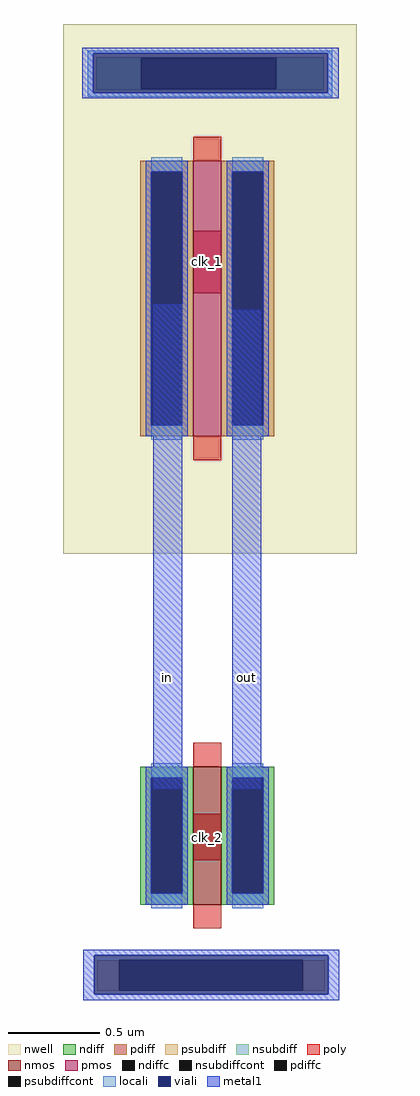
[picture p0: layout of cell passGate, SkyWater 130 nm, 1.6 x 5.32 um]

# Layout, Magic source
magic
tech sky130A
magscale 1 2
<< poly >>
rect 72 1026 102 1094
rect 72 408 102 459
<< metal1 >>
rect 28 486 60 1014
rect 114 486 146 1008
use grid  grid_0
transform 1 0 -9 0 1 266
box -61 -10 259 1053
use sky130_fd_pr__nfet_01v8_5CZXLZ  sky130_fd_pr__nfet_01v8_5CZXLZ_0
transform 1 0 87 0 1 435
box -73 -101 73 101
use sky130_fd_pr__pfet_01v8_52K3FE  sky130_fd_pr__pfet_01v8_52K3FE_0
transform 1 0 87 0 1 1020
box -109 -212 109 212
<< labels >>
rlabel metal1 28 486 60 728 1 in
rlabel metal1 114 486 146 728 1 out
rlabel poly 72 408 102 459 1 clk_2
rlabel poly 72 1026 102 1094 1 clk_1
<< end >>

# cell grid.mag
magic
tech sky130A
magscale 1 2
<< nwell >>
rect -61 476 259 1053
<< psubdiff >>
rect -24 0 0 34
rect 200 0 224 34
<< nsubdiff >>
rect -25 1016 223 1017
rect -25 982 24 1016
rect 171 982 223 1016
rect -25 981 223 982
<< psubdiffcont >>
rect 0 0 200 34
<< nsubdiffcont >>
rect 24 982 171 1016
<< locali >>
rect -34 1021 232 1024
rect -34 978 -28 1021
rect 227 978 232 1021
rect -34 974 232 978
<< viali >>
rect -28 1016 227 1021
rect -28 982 24 1016
rect 24 982 171 1016
rect 171 982 227 1016
rect -28 978 227 982
rect -27 34 228 39
rect -27 0 0 34
rect 0 0 200 34
rect 200 0 228 34
rect -27 -4 228 0
<< metal1 >>
rect -40 1021 239 1027
rect -40 978 -28 1021
rect 227 978 239 1021
rect -40 972 239 978
rect -39 39 240 45
rect -39 -4 -27 39
rect 228 -4 240 39
rect -39 -10 240 -4
<< end >>

# cell sky130_fd_pr__nfet_01v8_5CZXLZ: kit device sky130_fd_pr__nfet_01v8, w 0.75 l 0.15 m 1 nf 1 diffcov 100 polycov 100 guard 0 glc 0 grc 0 gtc 0 gbc 0 tbcov 100 rlcov 100 topc 0 botc 0 poverlap 0 doverlap 1 lmin 0.15 wmin 0.42 compatible {sky130_fd_pr__nfet_01v8 sky130_fd_pr__nfet_01v8_lvt sky130_fd_bs_flash__special_sonosfet_star sky130_fd_pr__nfet_g5v0d10v5 sky130_fd_pr__nfet_05v0_nvt sky130_fd_pr__nfet_03v3_nvt} full_metal 0 viasrc 100 viadrn 100 viagate 100 viagb 0 viagr 0 viagl 0 viagt 0

# cell sky130_fd_pr__pfet_01v8_52K3FE: kit device sky130_fd_pr__pfet_01v8, w 1.5 l 0.15 m 1 nf 1 diffcov 100 polycov 100 guard 0 glc 0 grc 0 gtc 0 gbc 0 tbcov 100 rlcov 100 topc 0 botc 0 poverlap 0 doverlap 1 lmin 0.15 wmin 0.42 compatible {sky130_fd_pr__pfet_01v8 sky130_fd_pr__pfet_01v8_lvt sky130_fd_pr__pfet_01v8_hvt sky130_fd_pr__pfet_g5v0d10v5} full_metal 0 viasrc 100 viadrn 100 viagate 100 viagb 0 viagr 0 viagl 0 viagt 0
